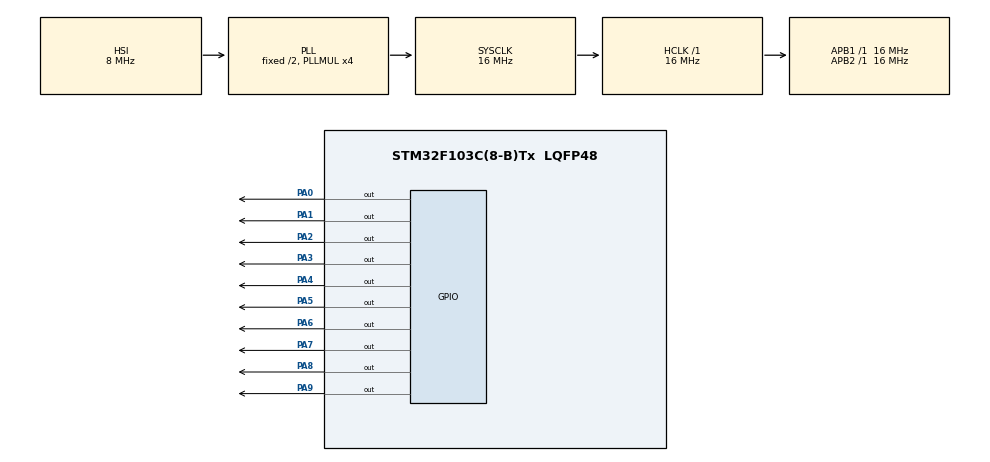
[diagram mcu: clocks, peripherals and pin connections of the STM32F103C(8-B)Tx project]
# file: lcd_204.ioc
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Mcu.Family=STM32F1
Mcu.Name=STM32F103C(8-B)Tx
Mcu.Package=LQFP48
NVIC.PriorityGroup=NVIC_PRIORITYGROUP_4
PA0-WKUP.Signal=GPIO_Output
PA1.Signal=GPIO_Output
PA2.Signal=GPIO_Output
PA3.Signal=GPIO_Output
PA4.Signal=GPIO_Output
PA5.Signal=GPIO_Output
PA6.Signal=GPIO_Output
PA7.Signal=GPIO_Output
PA8.Signal=GPIO_Output
PA9.Signal=GPIO_Output
PD0-OSC_IN.Mode=HSE-External-Oscillator
PD0-OSC_IN.Signal=RCC_OSC_IN
PD1-OSC_OUT.Mode=HSE-External-Oscillator
PD1-OSC_OUT.Signal=RCC_OSC_OUT
ProjectManager.HeapSize=0x200
ProjectManager.StackSize=0x400
ProjectManager.TargetToolchain=STM32CubeIDE
RCC.AHBFreq_Value=16000000
RCC.APB1Freq_Value=16000000
RCC.APB1TimFreq_Value=16000000
RCC.APB2Freq_Value=16000000
RCC.APB2TimFreq_Value=16000000
RCC.HCLKFreq_Value=16000000
RCC.PLLMUL=RCC_PLL_MUL4
RCC.SYSCLKFreq_VALUE=16000000
RCC.SYSCLKSource=RCC_SYSCLKSOURCE_PLLCLK
RCC.USBFreq_Value=16000000
VP_SYS_VS_ND.Mode=No_Debug
board=custom

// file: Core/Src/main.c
/* USER CODE BEGIN Header */
/**
  ******************************************************************************
  * @file           : main.c
  * @brief          : Main program body
  ******************************************************************************
  * @attention
  *
  * <h2><center>&copy; Copyright (c) 2026 STMicroelectronics.
  * All rights reserved.</center></h2>
  *
  * This software component is licensed by ST under BSD 3-Clause license,
  * the "License"; You may not use this file except in compliance with the
  * License. You may obtain a copy of the License at:
  *                        opensource.org/licenses/BSD-3-Clause
  *
  ******************************************************************************
  */
/* USER CODE END Header */

#include "main.h"

void SystemClock_Config(void);
static void MX_GPIO_Init(void);
/* USER CODE BEGIN PFP */

void LCD_Init(void);
void LCD(uint8_t val, uint8_t cmd);

/* USER CODE END PFP */

int main(void)
{
  /* USER CODE BEGIN 1 */

	uint8_t str[] = "STM32 TUTORIALS";
	uint8_t str1[] = "8-BIT MODE LCD";
	uint8_t str2[] = "TOTAL 20*4 CHARACTER";
	uint8_t str3[] = "DAYANAND KILLEDAR";

  /* USER CODE END 1 */

  /* MCU Configuration--------------------------------------------------------*/

  /* Reset of all peripherals, Initializes the Flash interface and the Systick. */
  HAL_Init();

  /* Configure the system clock */
  SystemClock_Config();

  /* Initialize all configured peripherals */
  MX_GPIO_Init();
  /* USER CODE BEGIN 2 */

  LCD_Init();

  LCD(0x80, 0);						// Row 1, Column 1

  for(uint8_t i=0; i<15;i++)
  {
	  LCD(str[i],1);
  }

  LCD(0xC0, 0);						// Row 2, Column 1
  for(uint8_t j=0; j<14;j++)
  {
	  LCD(str1[j],1);
  }

  LCD(0x94, 0);						// Row 3, Column 1
  for(uint8_t k=0; k<20; k++)
  {
	  LCD(str2[k],1);
  }

  LCD(0xD4, 0);						// Row 4, Column 1
  for(uint8_t l=0; l<20; l++)
  {
	  LCD(str3[l],1);
  }

  /* USER CODE END 2 */

  /* Infinite loop */
  while (1)
  {

  }
}

void SystemClock_Config(void)
{
  RCC_OscInitTypeDef RCC_OscInitStruct = {0};
  RCC_ClkInitTypeDef RCC_ClkInitStruct = {0};

  /** Initializes the CPU, AHB and APB busses clocks
  */
  RCC_OscInitStruct.OscillatorType = RCC_OSCILLATORTYPE_HSI;
  RCC_OscInitStruct.HSIState = RCC_HSI_ON;
  RCC_OscInitStruct.HSICalibrationValue = RCC_HSICALIBRATION_DEFAULT;
  RCC_OscInitStruct.PLL.PLLState = RCC_PLL_ON;
  RCC_OscInitStruct.PLL.PLLSource = RCC_PLLSOURCE_HSI_DIV2;
  RCC_OscInitStruct.PLL.PLLMUL = RCC_PLL_MUL4;
  if (HAL_RCC_OscConfig(&RCC_OscInitStruct) != HAL_OK)
  {
    Error_Handler();
  }
  /** Initializes the CPU, AHB and APB busses clocks
  */
  RCC_ClkInitStruct.ClockType = RCC_CLOCKTYPE_HCLK|RCC_CLOCKTYPE_SYSCLK
                              |RCC_CLOCKTYPE_PCLK1|RCC_CLOCKTYPE_PCLK2;
  RCC_ClkInitStruct.SYSCLKSource = RCC_SYSCLKSOURCE_PLLCLK;
  RCC_ClkInitStruct.AHBCLKDivider = RCC_SYSCLK_DIV1;
  RCC_ClkInitStruct.APB1CLKDivider = RCC_HCLK_DIV1;
  RCC_ClkInitStruct.APB2CLKDivider = RCC_HCLK_DIV1;

  if (HAL_RCC_ClockConfig(&RCC_ClkInitStruct, FLASH_LATENCY_0) != HAL_OK)
  {
    Error_Handler();
  }
}

static void MX_GPIO_Init(void)
{
  GPIO_InitTypeDef GPIO_InitStruct = {0};

  /* GPIO Ports Clock Enable */
  __HAL_RCC_GPIOD_CLK_ENABLE();
  __HAL_RCC_GPIOA_CLK_ENABLE();

  /*Configure GPIO pin Output Level */
  HAL_GPIO_WritePin(GPIOA, GPIO_PIN_0|GPIO_PIN_1|GPIO_PIN_2|GPIO_PIN_3
                          |GPIO_PIN_4|GPIO_PIN_5|GPIO_PIN_6|GPIO_PIN_7
                          |GPIO_PIN_8|GPIO_PIN_9, GPIO_PIN_RESET);

  /*Configure GPIO pins : PA0 PA1 PA2 PA3
                           PA4 PA5 PA6 PA7
                           PA8 PA9 */
  GPIO_InitStruct.Pin = GPIO_PIN_0|GPIO_PIN_1|GPIO_PIN_2|GPIO_PIN_3
                          |GPIO_PIN_4|GPIO_PIN_5|GPIO_PIN_6|GPIO_PIN_7
                          |GPIO_PIN_8|GPIO_PIN_9;
  GPIO_InitStruct.Mode = GPIO_MODE_OUTPUT_PP;
  GPIO_InitStruct.Pull = GPIO_NOPULL;
  GPIO_InitStruct.Speed = GPIO_SPEED_FREQ_LOW;
  HAL_GPIO_Init(GPIOA, &GPIO_InitStruct);

}

/* USER CODE BEGIN 4 */

void LCD_Init(void)
{
	LCD(0x38, 0);				// 8-bit mode, 2 lines
	LCD(0x0C, 0);				// Display ON, Cursor OFF
	LCD(0x06, 0);				// Increment cursor (shift cursor to right)
	LCD(0x01, 0);				// Clear display screen
	LCD(0x80, 0);				// Force cursor to beginning (1st line)
}

void LCD(uint8_t val, uint8_t cmd)
{
	uint8_t data;

	HAL_GPIO_WritePin(GPIOA, GPIO_PIN_8, cmd);			// set RS cmd : (cmd=0) => Command; (cmd=1) => Data;

	data = val & 0x01;									// mask bit and assign it GPIO0
	HAL_GPIO_WritePin(GPIOA, GPIO_PIN_0, data);

	data = (val>>1) & 0x01;								// mask bit and assign it GPIO1
	HAL_GPIO_WritePin(GPIOA, GPIO_PIN_1, data);

	data = (val>>2) & 0x01;								// mask bit and assign it GPIO2
	HAL_GPIO_WritePin(GPIOA, GPIO_PIN_2, data);

	data = (val>>3) & 0x01;								// mask bit and assign it GPIO3
	HAL_GPIO_WritePin(GPIOA, GPIO_PIN_3, data);

	data = (val>>4) & 0x01;								// mask bit and assign it GPIO4
	HAL_GPIO_WritePin(GPIOA, GPIO_PIN_4, data);

	data = (val>>5) & 0x01;								// mask bit and assign it GPIO5
	HAL_GPIO_WritePin(GPIOA, GPIO_PIN_5, data);

	data = (val>>6) & 0x01;								// mask bit and assign it GPIO6
	HAL_GPIO_WritePin(GPIOA, GPIO_PIN_6, data);

	data = (val>>7) & 0x01;								// mask bit and assign it GPIO7
	HAL_GPIO_WritePin(GPIOA, GPIO_PIN_7, data);

	/* ------- Enable Bit ------- */
	HAL_GPIO_WritePin(GPIOA, GPIO_PIN_9, SET);
	HAL_Delay(1);

	HAL_GPIO_WritePin(GPIOA, GPIO_PIN_9, RESET);
	HAL_Delay(5);

}

/* USER CODE END 4 */

void Error_Handler(void)
{
}

/************************ (C) COPYRIGHT STMicroelectronics *****END OF FILE****/
